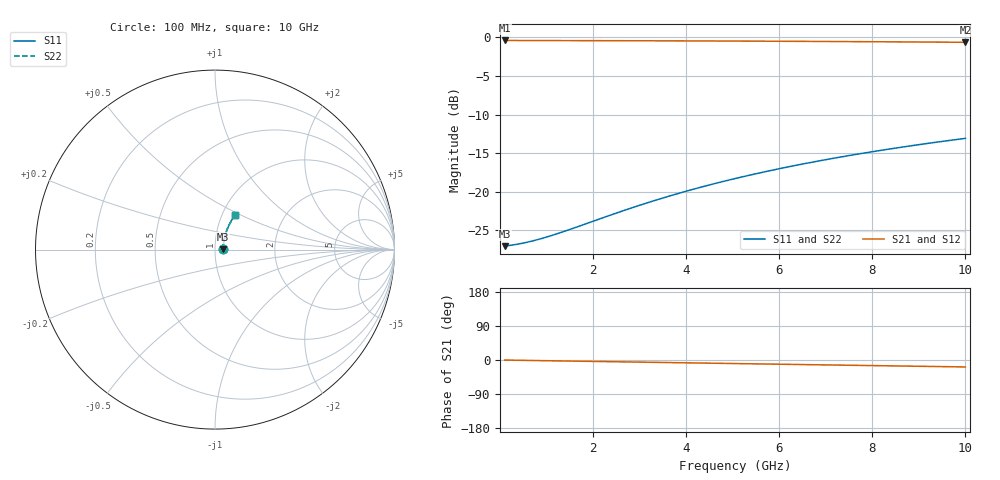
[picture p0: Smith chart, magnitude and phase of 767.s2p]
# Hz S RI R 50.00
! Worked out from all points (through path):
!   100 points, 100 MHz to 10 GHz, reference 50 ohm
!   highest |S21| = -0.39 dB at 100 MHz (marker M1); lowest = -0.6 dB at 10 GHz (marker M2)
!   group delay of S21, straight-line fit = 5.1 ps
!   lowest |S11| = -27.1 dB at 100 MHz (marker M3), VSWR 1.09, Z = 54.6 + j0.23 ohm
!   |S11| at or under -10 dB: start of sweep to end of sweep
!   |S22| runs from -27.1 to -13.1 dB; largest |S21 - S12| = 0
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1e8  0.0442 0.0021  0.9558 -0.00311  0.9558 -0.00311  0.0442 0.0021
3e8  0.0448 0.0063  0.9552 -0.00933  0.9552 -0.00933  0.0448 0.0063
5e8  0.0452 0.0105  0.9548 -0.0155  0.9548 -0.0155  0.0452 0.0105
8e8  0.0458 0.0168  0.9542 -0.0249  0.9542 -0.0249  0.0458 0.0168
1e9  0.0462 0.0209  0.9537 -0.0311  0.9537 -0.0311  0.0462 0.0209
1.2e9  0.0466 0.0251  0.9533 -0.0372  0.9533 -0.0372  0.0466 0.0251
1.5e9  0.0474 0.0314  0.9525 -0.0465  0.9525 -0.0465  0.0474 0.0314
1.8e9  0.0482 0.0376  0.9516 -0.0558  0.9516 -0.0558  0.0482 0.0376
2.7e9  0.0514 0.0561  0.9482 -0.0834  0.9482 -0.0834  0.0514 0.0561
3.1e9  0.0531 0.0643  0.9464 -0.0956  0.9464 -0.0956  0.0531 0.0643
3.4e9  0.0545 0.0703  0.9449 -0.1047  0.9449 -0.1047  0.0545 0.0703
3.8e9  0.0566 0.0784  0.9426 -0.1168  0.9426 -0.1168  0.0566 0.0784
4.2e9  0.0588 0.0864  0.9402 -0.1289  0.9402 -0.1289  0.0588 0.0864
4.6e9  0.0613 0.0943  0.9376 -0.1408  0.9376 -0.1408  0.0613 0.0943
5.1e9  0.0646 0.1041  0.934 -0.1557  0.934 -0.1557  0.0646 0.1041
5.5e9  0.0675 0.1118  0.9309 -0.1675  0.9309 -0.1675  0.0675 0.1118
5.9e9  0.0706 0.1194  0.9276 -0.1791  0.9276 -0.1791  0.0706 0.1194
6.7e9  0.0773 0.1344  0.9203 -0.2022  0.9203 -0.2022  0.0773 0.1344
7.5e9  0.0847 0.1489  0.9123 -0.2249  0.9123 -0.2249  0.0847 0.1489
8.4e9  0.0938 0.1647  0.9024 -0.2498  0.9024 -0.2498  0.0938 0.1647
9.2e9  0.1026 0.1781  0.8928 -0.2714  0.8928 -0.2714  0.1026 0.1781
1e10  0.112 0.1911  0.8826 -0.2925  0.8826 -0.2925  0.112 0.1911
